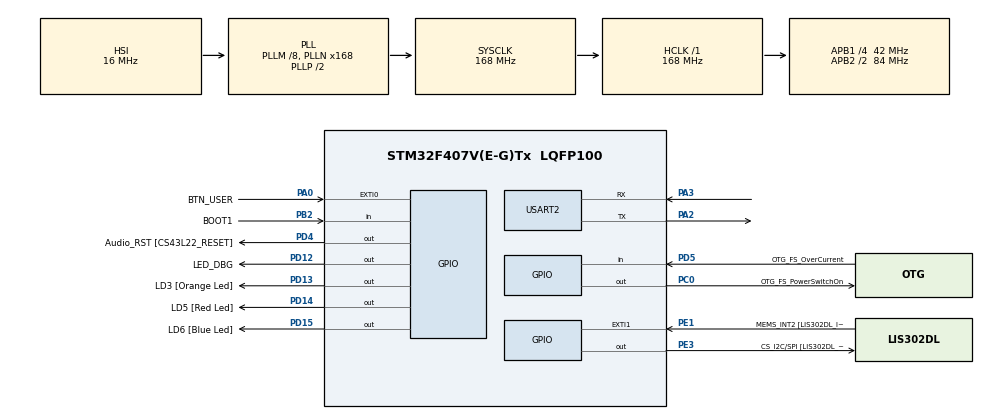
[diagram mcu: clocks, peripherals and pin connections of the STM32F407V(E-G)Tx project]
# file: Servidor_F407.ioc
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Dma.Request0=USART2_RX
Dma.Request1=USART2_TX
Dma.USART2_RX.0.Direction=DMA_PERIPH_TO_MEMORY
Dma.USART2_RX.0.FIFOMode=DMA_FIFOMODE_DISABLE
Dma.USART2_RX.0.Instance=DMA1_Stream5
Dma.USART2_RX.0.MemDataAlignment=DMA_MDATAALIGN_BYTE
Dma.USART2_RX.0.MemInc=DMA_MINC_ENABLE
Dma.USART2_RX.0.Mode=DMA_NORMAL
Dma.USART2_RX.0.PeriphDataAlignment=DMA_PDATAALIGN_BYTE
Dma.USART2_RX.0.PeriphInc=DMA_PINC_DISABLE
Dma.USART2_RX.0.Priority=DMA_PRIORITY_MEDIUM
Dma.USART2_TX.1.Direction=DMA_MEMORY_TO_PERIPH
Dma.USART2_TX.1.FIFOMode=DMA_FIFOMODE_DISABLE
Dma.USART2_TX.1.Instance=DMA1_Stream6
Dma.USART2_TX.1.MemDataAlignment=DMA_MDATAALIGN_BYTE
Dma.USART2_TX.1.MemInc=DMA_MINC_ENABLE
Dma.USART2_TX.1.Mode=DMA_NORMAL
Dma.USART2_TX.1.PeriphDataAlignment=DMA_PDATAALIGN_BYTE
Dma.USART2_TX.1.PeriphInc=DMA_PINC_DISABLE
Dma.USART2_TX.1.Priority=DMA_PRIORITY_MEDIUM
Mcu.Family=STM32F4
Mcu.Name=STM32F407V(E-G)Tx
Mcu.Package=LQFP100
NVIC.DMA1_Stream5_IRQn=true\:0\:0\:false\:false\:true\:false\:true\:true
NVIC.DMA1_Stream6_IRQn=true\:0\:0\:false\:false\:true\:false\:true\:true
NVIC.EXTI0_IRQn=true\:0\:0\:false\:false\:true\:true\:true\:true
NVIC.PriorityGroup=NVIC_PRIORITYGROUP_0
NVIC.USART2_IRQn=true\:0\:0\:false\:false\:true\:true\:true\:true
PA0-WKUP.GPIO_Label=BTN_USER
PA0-WKUP.Signal=GPXTI0
PA10.GPIO_Label=OTG_FS_ID
PA10.GPIO_Mode=GPIO_MODE_AF_PP
PA10.GPIO_PuPd=GPIO_NOPULL
PA10.GPIO_Speed=GPIO_SPEED_FREQ_LOW
PA10.Signal=USB_OTG_FS_ID
PA11.GPIO_Label=OTG_FS_DM
PA11.GPIO_Mode=GPIO_MODE_AF_PP
PA11.GPIO_PuPd=GPIO_NOPULL
PA11.GPIO_Speed=GPIO_SPEED_FREQ_LOW
PA11.Signal=USB_OTG_FS_DM
PA12.GPIO_Label=OTG_FS_DP
PA12.GPIO_Mode=GPIO_MODE_AF_PP
PA12.GPIO_PuPd=GPIO_NOPULL
PA12.GPIO_Speed=GPIO_SPEED_FREQ_LOW
PA12.Signal=USB_OTG_FS_DP
PA13.GPIO_Label=SWDIO
PA13.Mode=Serial_Wire
PA13.Signal=SYS_JTMS-SWDIO
PA14.GPIO_Label=SWCLK
PA14.Mode=Serial_Wire
PA14.Signal=SYS_JTCK-SWCLK
PA2.Mode=Asynchronous
PA2.Signal=USART2_TX
PA3.Mode=Asynchronous
PA3.Signal=USART2_RX
PA4.GPIO_Label=I2S3_WS [CS43L22_LRCK]
PA4.GPIO_Mode=GPIO_MODE_AF_PP
PA4.GPIO_PuPd=GPIO_NOPULL
PA4.GPIO_Speed=GPIO_SPEED_FREQ_LOW
PA4.Signal=I2S3_WS
PA5.GPIO_Label=SPI1_SCK [LIS302DL_SCL/SPC]
PA5.GPIO_Mode=GPIO_MODE_AF_PP
PA5.GPIO_PuPd=GPIO_NOPULL
PA5.GPIO_Speed=GPIO_SPEED_FREQ_LOW
PA5.Signal=SPI1_SCK
PA6.GPIO_Label=SPI1_MISO [LIS302DL_SDO]
PA6.GPIO_Mode=GPIO_MODE_AF_PP
PA6.GPIO_PuPd=GPIO_NOPULL
PA6.GPIO_Speed=GPIO_SPEED_FREQ_LOW
PA6.Signal=SPI1_MISO
PA7.GPIO_Label=SPI1_MOSI [LIS302DL_SDA/SDI/SDO]
PA7.GPIO_Mode=GPIO_MODE_AF_PP
PA7.GPIO_PuPd=GPIO_NOPULL
PA7.GPIO_Speed=GPIO_SPEED_FREQ_LOW
PA7.Signal=SPI1_MOSI
PA9.GPIO_Label=VBUS_FS
PA9.GPIO_Mode=GPIO_MODE_INPUT
PA9.GPIO_PuPd=GPIO_NOPULL
PA9.Signal=USB_OTG_FS_VBUS
PB10.GPIO_Label=CLK_IN [MP45DT02_CLK]
PB10.GPIO_Mode=GPIO_MODE_AF_PP
PB10.GPIO_PuPd=GPIO_NOPULL
PB10.GPIO_Speed=GPIO_SPEED_FREQ_LOW
PB10.Signal=I2S2_CK
PB2.GPIO_Label=BOOT1
PB2.GPIO_Mode=GPIO_MODE_INPUT
PB2.GPIO_PuPd=GPIO_NOPULL
PB2.Signal=GPIO_Input
PB3.GPIO_Label=SWO
PB3.Signal=SYS_JTDO-SWO
PB6.GPIO_Label=Audio_SCL [CS43L22_SCL]
PB6.GPIO_Mode=GPIO_MODE_AF_OD
PB6.GPIO_PuPd=GPIO_NOPULL
PB6.GPIO_Speed=GPIO_SPEED_FREQ_LOW
PB6.Signal=I2C1_SCL
PB9.GPIO_Label=Audio_SDA [CS43L22_SDA]
PB9.GPIO_Mode=GPIO_MODE_AF_OD
PB9.GPIO_PuPd=GPIO_NOPULL
PB9.GPIO_Speed=GPIO_SPEED_FREQ_LOW
PB9.Signal=I2C1_SDA
PC0.GPIO_Label=OTG_FS_PowerSwitchOn
PC0.GPIO_PuPd=GPIO_NOPULL
PC0.GPIO_Speed=GPIO_SPEED_FREQ_LOW
PC0.PinState=GPIO_PIN_SET
PC0.Signal=GPIO_Output
PC10.GPIO_Label=I2S3_SCK [CS43L22_SCLK]
PC10.GPIO_Mode=GPIO_MODE_AF_PP
PC10.GPIO_PuPd=GPIO_NOPULL
PC10.GPIO_Speed=GPIO_SPEED_FREQ_LOW
PC10.Signal=I2S3_CK
PC12.GPIO_Label=I2S3_SD [CS43L22_SDIN]
PC12.GPIO_Mode=GPIO_MODE_AF_PP
PC12.GPIO_PuPd=GPIO_NOPULL
PC12.GPIO_Speed=GPIO_SPEED_FREQ_LOW
PC12.Signal=I2S3_SD
PC14-OSC32_IN.GPIO_Label=PC14-OSC32_IN
PC14-OSC32_IN.Signal=RCC_OSC32_IN
PC15-OSC32_OUT.GPIO_Label=PC15-OSC32_OUT
PC15-OSC32_OUT.Signal=RCC_OSC32_OUT
PC3.GPIO_Label=PDM_OUT [MP45DT02_DOUT]
PC3.GPIO_Mode=GPIO_MODE_AF_PP
PC3.GPIO_PuPd=GPIO_NOPULL
PC3.GPIO_Speed=GPIO_SPEED_FREQ_LOW
PC3.Signal=I2S2_SD
PC7.GPIO_Label=I2S3_MCK [CS43L22_MCLK]
PC7.GPIO_Mode=GPIO_MODE_AF_PP
PC7.GPIO_PuPd=GPIO_NOPULL
PC7.GPIO_Speed=GPIO_SPEED_FREQ_LOW
PC7.Signal=I2S3_MCK
PD12.GPIO_Label=LED_DBG
PD12.Signal=GPIO_Output
PD13.GPIO_Label=LD3 [Orange Led]
PD13.GPIO_PuPd=GPIO_NOPULL
PD13.GPIO_Speed=GPIO_SPEED_FREQ_LOW
PD13.Signal=GPIO_Output
PD14.GPIO_Label=LD5 [Red Led]
PD14.GPIO_PuPd=GPIO_NOPULL
PD14.GPIO_Speed=GPIO_SPEED_FREQ_LOW
PD14.Signal=GPIO_Output
PD15.GPIO_Label=LD6 [Blue Led]
PD15.GPIO_PuPd=GPIO_NOPULL
PD15.GPIO_Speed=GPIO_SPEED_FREQ_LOW
PD15.Signal=GPIO_Output
PD4.GPIO_Label=Audio_RST [CS43L22_RESET]
PD4.GPIO_PuPd=GPIO_NOPULL
PD4.GPIO_Speed=GPIO_SPEED_FREQ_LOW
PD4.Signal=GPIO_Output
PD5.GPIO_Label=OTG_FS_OverCurrent
PD5.GPIO_Mode=GPIO_MODE_INPUT
PD5.GPIO_PuPd=GPIO_NOPULL
PD5.Signal=GPIO_Input
PE1.GPIO_Label=MEMS_INT2 [LIS302DL_INT2]
PE1.GPIO_ModeDefaultEXTI=GPIO_MODE_EVT_RISING
PE1.GPIO_PuPd=GPIO_NOPULL
PE1.Signal=GPXTI1
PE3.GPIO_Label=CS_I2C/SPI [LIS302DL_CS_I2C/SPI]
PE3.GPIO_PuPd=GPIO_NOPULL
PE3.GPIO_Speed=GPIO_SPEED_FREQ_LOW
PE3.Signal=GPIO_Output
PH0-OSC_IN.GPIO_Label=PH0-OSC_IN
PH0-OSC_IN.Mode=HSE-External-Oscillator
PH0-OSC_IN.Signal=RCC_OSC_IN
PH1-OSC_OUT.GPIO_Label=PH1-OSC_OUT
PH1-OSC_OUT.Mode=HSE-External-Oscillator
PH1-OSC_OUT.Signal=RCC_OSC_OUT
ProjectManager.HeapSize=0x200
ProjectManager.StackSize=0x400
ProjectManager.TargetToolchain=STM32CubeIDE
RCC.48MHZClocksFreq_Value=48000000
RCC.AHBFreq_Value=168000000
RCC.APB1CLKDivider=RCC_HCLK_DIV4
RCC.APB1Freq_Value=42000000
RCC.APB1TimFreq_Value=84000000
RCC.APB2CLKDivider=RCC_HCLK_DIV2
RCC.APB2Freq_Value=84000000
RCC.APB2TimFreq_Value=168000000
RCC.CortexFreq_Value=168000000
RCC.HCLKFreq_Value=168000000
RCC.HSE_VALUE=8000000
RCC.HSI_VALUE=16000000
RCC.LSE_VALUE=32768
RCC.PLLM=8
RCC.PLLN=168
RCC.PLLQ=7
RCC.SYSCLKFreq_VALUE=168000000
RCC.SYSCLKSource=RCC_SYSCLKSOURCE_PLLCLK
RCC.VCOOutputFreq_Value=336000000
USART2.VirtualMode=VM_ASYNC
board=STM32F407G-DISC1

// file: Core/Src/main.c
/* USER CODE BEGIN Header */
/**
  ******************************************************************************
  * @file           : main.c
  * @brief          : Main program body
  ******************************************************************************
  * @attention
  *
  * Copyright (c) 2026 STMicroelectronics.
  * All rights reserved.
  *
  * This software is licensed under terms that can be found in the LICENSE file
  * in the root directory of this software component.
  * If no LICENSE file comes with this software, it is provided AS-IS.
  *
  ******************************************************************************
  */
/* USER CODE END Header */
#include "main.h"
#include "dma.h"
#include "usart.h"
#include "gpio.h"

/* USER CODE BEGIN Includes */
#include <string.h>
/* USER CODE END Includes */

/* USER CODE BEGIN PV */

#define TABELA_SIZE 128

volatile uint8_t contador = 0;
uint8_t cmd_rx = 0;

// Tabela de membros da equipe — enviada ao cliente via DMA
// Deve ter exatamente TABELA_SIZE bytes
uint8_t tabela[TABELA_SIZE] =
    "=== Equipe ===\r\n"
    "Guilherme Galindo, 14498024435\r\n"
    "Bruna Cruz,        70907682448\r\n"
    "Vitor Queiroz,     10363931430\r\n";

/* USER CODE END PV */

void SystemClock_Config(void);

/* USER CODE BEGIN 0 */

// Callback do botao (PA0 — EXTI line 0)
void HAL_GPIO_EXTI_Callback(uint16_t GPIO_Pin)
{
    if (GPIO_Pin == BTN_USER_Pin) {
        contador++;
        // Feedback visual a cada clique
        HAL_GPIO_TogglePin(LED_DBG_GPIO_Port, LED_DBG_Pin);
    }
}

// Callback de UART RX completa
void HAL_UART_RxCpltCallback(UART_HandleTypeDef *huart)
{
    if (huart->Instance == USART2) {
        if (cmd_rx == 0x5A) {
            // Envia contador (1 byte) por interrupcao
            HAL_UART_Transmit_IT(&huart2, (uint8_t*)&contador, 1);
            // A tabela sera enviada dentro do TxCpltCallback (ver abaixo)
        }
    }
}

// Callback de UART TX completa
void HAL_UART_TxCpltCallback(UART_HandleTypeDef *huart)
{
    if (huart->Instance == USART2) {
        static uint8_t tx_stage = 0;
        if (tx_stage == 0) {
            // Acabou de enviar o contador → agora envia a tabela via DMA
            tx_stage = 1;
            HAL_UART_Transmit_DMA(&huart2, tabela, TABELA_SIZE);
        } else {
            // Acabou de enviar a tabela → zera contador e rearma recepcao
            tx_stage = 0;
            contador = 0;
            HAL_UART_Receive_IT(&huart2, &cmd_rx, 1);
        }
    }
}

/* USER CODE END 0 */

int main(void)
{

  /* MCU Configuration--------------------------------------------------------*/

  /* Reset of all peripherals, Initializes the Flash interface and the Systick. */
  HAL_Init();

  /* Configure the system clock */
  SystemClock_Config();

  /* Initialize all configured peripherals */
  MX_GPIO_Init();
  MX_DMA_Init();
  MX_USART2_UART_Init();
  /* USER CODE BEGIN 2 */
  // Arma primeira recepcao do comando do cliente
  HAL_UART_Receive_IT(&huart2, &cmd_rx, 1);
  /* USER CODE END 2 */

  /* Infinite loop */
  while (1)
  {

  }
}

void SystemClock_Config(void)
{
  RCC_OscInitTypeDef RCC_OscInitStruct = {0};
  RCC_ClkInitTypeDef RCC_ClkInitStruct = {0};

  /** Configure the main internal regulator output voltage
  */
  __HAL_RCC_PWR_CLK_ENABLE();
  __HAL_PWR_VOLTAGESCALING_CONFIG(PWR_REGULATOR_VOLTAGE_SCALE1);

  /** Initializes the RCC Oscillators according to the specified parameters
  * in the RCC_OscInitTypeDef structure.
  */
  RCC_OscInitStruct.OscillatorType = RCC_OSCILLATORTYPE_HSI;
  RCC_OscInitStruct.HSIState = RCC_HSI_ON;
  RCC_OscInitStruct.HSICalibrationValue = RCC_HSICALIBRATION_DEFAULT;
  RCC_OscInitStruct.PLL.PLLState = RCC_PLL_ON;
  RCC_OscInitStruct.PLL.PLLSource = RCC_PLLSOURCE_HSI;
  RCC_OscInitStruct.PLL.PLLM = 8;
  RCC_OscInitStruct.PLL.PLLN = 168;
  RCC_OscInitStruct.PLL.PLLP = RCC_PLLP_DIV2;
  RCC_OscInitStruct.PLL.PLLQ = 7;
  if (HAL_RCC_OscConfig(&RCC_OscInitStruct) != HAL_OK)
  {
    Error_Handler();
  }

  /** Initializes the CPU, AHB and APB buses clocks
  */
  RCC_ClkInitStruct.ClockType = RCC_CLOCKTYPE_HCLK|RCC_CLOCKTYPE_SYSCLK
                              |RCC_CLOCKTYPE_PCLK1|RCC_CLOCKTYPE_PCLK2;
  RCC_ClkInitStruct.SYSCLKSource = RCC_SYSCLKSOURCE_PLLCLK;
  RCC_ClkInitStruct.AHBCLKDivider = RCC_SYSCLK_DIV1;
  RCC_ClkInitStruct.APB1CLKDivider = RCC_HCLK_DIV4;
  RCC_ClkInitStruct.APB2CLKDivider = RCC_HCLK_DIV2;

  if (HAL_RCC_ClockConfig(&RCC_ClkInitStruct, FLASH_LATENCY_5) != HAL_OK)
  {
    Error_Handler();
  }
}

void Error_Handler(void)
{
  __disable_irq();
  while (1)
  {
  }
}
